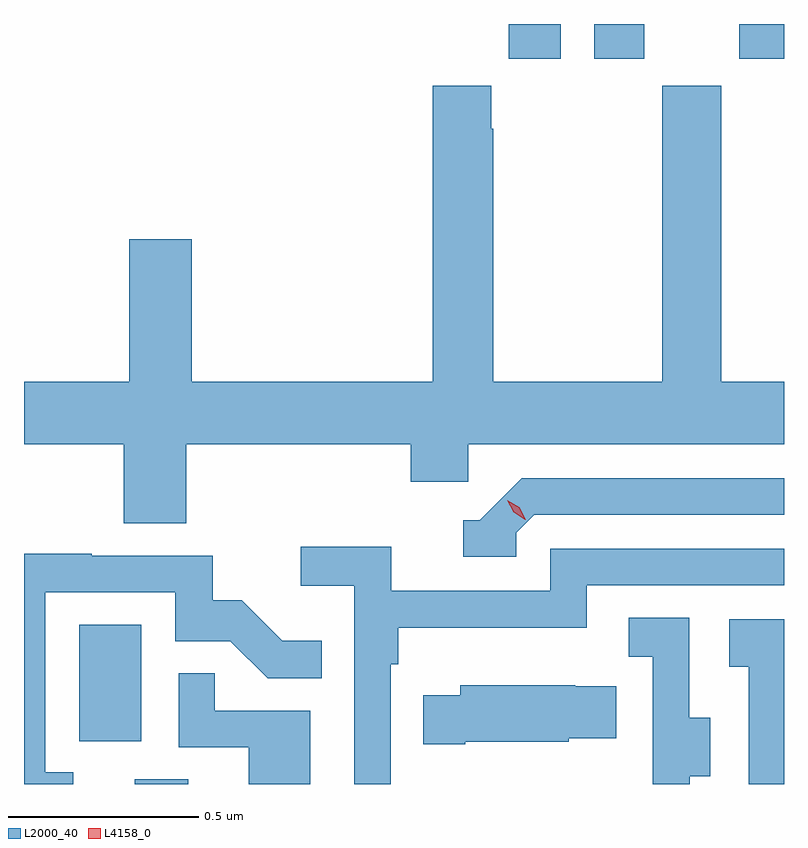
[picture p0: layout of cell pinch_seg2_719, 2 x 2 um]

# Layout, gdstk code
import gdstk
lib = gdstk.Library(unit=1e-6, precision=1e-09)
def R(c, l, rs):  # rectangles x0, y0, x1, y1
    for r in rs: c.add(gdstk.rectangle(r[:2], r[2:], *l))
def P(c, l, *ps):  # polygons
    for p in ps: c.add(gdstk.Polygon(p, *l))
L2000_40 = (2000, 40)
L4158_0 = (4158, 0)

pinch_seg2_719 = lib.new_cell('pinch_seg2_719')
R(pinch_seg2_719, L2000_40, [(1142.045,596.126,1142.185,596.138), (1141.898,596.238,1142.062,596.545), (1143.029,598.035,1143.166,598.126), (1143.254,598.035,1143.385,598.126), (1143.635,598.035,1143.753,598.126)])
P(pinch_seg2_719, L2000_40, [(1142.18,597.02),(1142.771,597.02),(1142.771,596.922),(1142.922,596.922),(1142.922,597.02),(1143.753,597.02),(1143.753,597.184),(1143.588,597.184),(1143.588,597.964),(1143.433,597.964),(1143.433,597.184),(1142.988,597.184),(1142.988,597.851),(1142.983,597.851),(1142.983,597.964),(1142.828,597.964),(1142.828,597.184),(1142.194,597.184),(1142.194,597.559),(1142.03,597.559),(1142.03,597.184),(1141.753,597.184),(1141.753,597.02),(1142.015,597.02),(1142.015,596.812),(1142.18,596.812)],
  [(1143.048,596.787),(1143.096,596.835),(1143.753,596.835),(1143.753,596.931),(1143.063,596.931),(1142.952,596.82),(1142.909,596.82),(1142.909,596.724),(1143.048,596.724)],
  [(1142.718,596.441),(1142.738,596.441),(1142.738,596.537),(1143.234,596.537),(1143.234,596.649),(1143.753,596.649),(1143.753,596.745),(1143.138,596.745),(1143.138,596.634),(1142.72,596.634),(1142.72,596.75),(1142.481,596.75),(1142.481,596.648),(1142.622,596.648),(1142.622,596.126),(1142.718,596.126)],
  [(1141.882,596.157),(1141.809,596.157),(1141.809,596.631),(1142.151,596.631),(1142.151,596.502),(1142.296,596.502),(1142.394,596.404),(1142.537,596.404),(1142.537,596.503),(1142.433,596.503),(1142.326,596.61),(1142.25,596.61),(1142.25,596.727),(1141.931,596.727),(1141.931,596.732),(1141.753,596.732),(1141.753,596.126),(1141.882,596.126)],
  [(1143.505,596.146),(1143.559,596.146),(1143.559,596.301),(1143.504,596.301),(1143.504,596.564),(1143.345,596.564),(1143.345,596.461),(1143.408,596.461),(1143.408,596.157),(1143.407,596.157),(1143.407,596.126),(1143.505,596.126)],
  [(1143.753,596.559),(1143.609,596.559),(1143.609,596.435),(1143.66,596.435),(1143.66,596.126),(1143.753,596.126)],
  [(1142.506,596.319),(1142.255,596.319),(1142.255,596.417),(1142.16,596.417),(1142.16,596.223),(1142.345,596.223),(1142.345,596.126),(1142.506,596.126)],
  [(1142.914,596.237),(1143.186,596.237),(1143.186,596.246),(1143.311,596.246),(1143.311,596.383),(1143.203,596.383),(1143.203,596.386),(1142.901,596.386),(1142.901,596.359),(1142.803,596.359),(1142.803,596.23),(1142.914,596.23)])
P(pinch_seg2_719, L4158_0, [(1143.072,596.822),(1143.042,596.841),(1143.025,596.873),(1143.025,596.873),(1143.025,596.873),(1143.056,596.854),(1143.073,596.822),(1143.073,596.822)])

lib.write_gds('pinch_seg2_719.gds')
